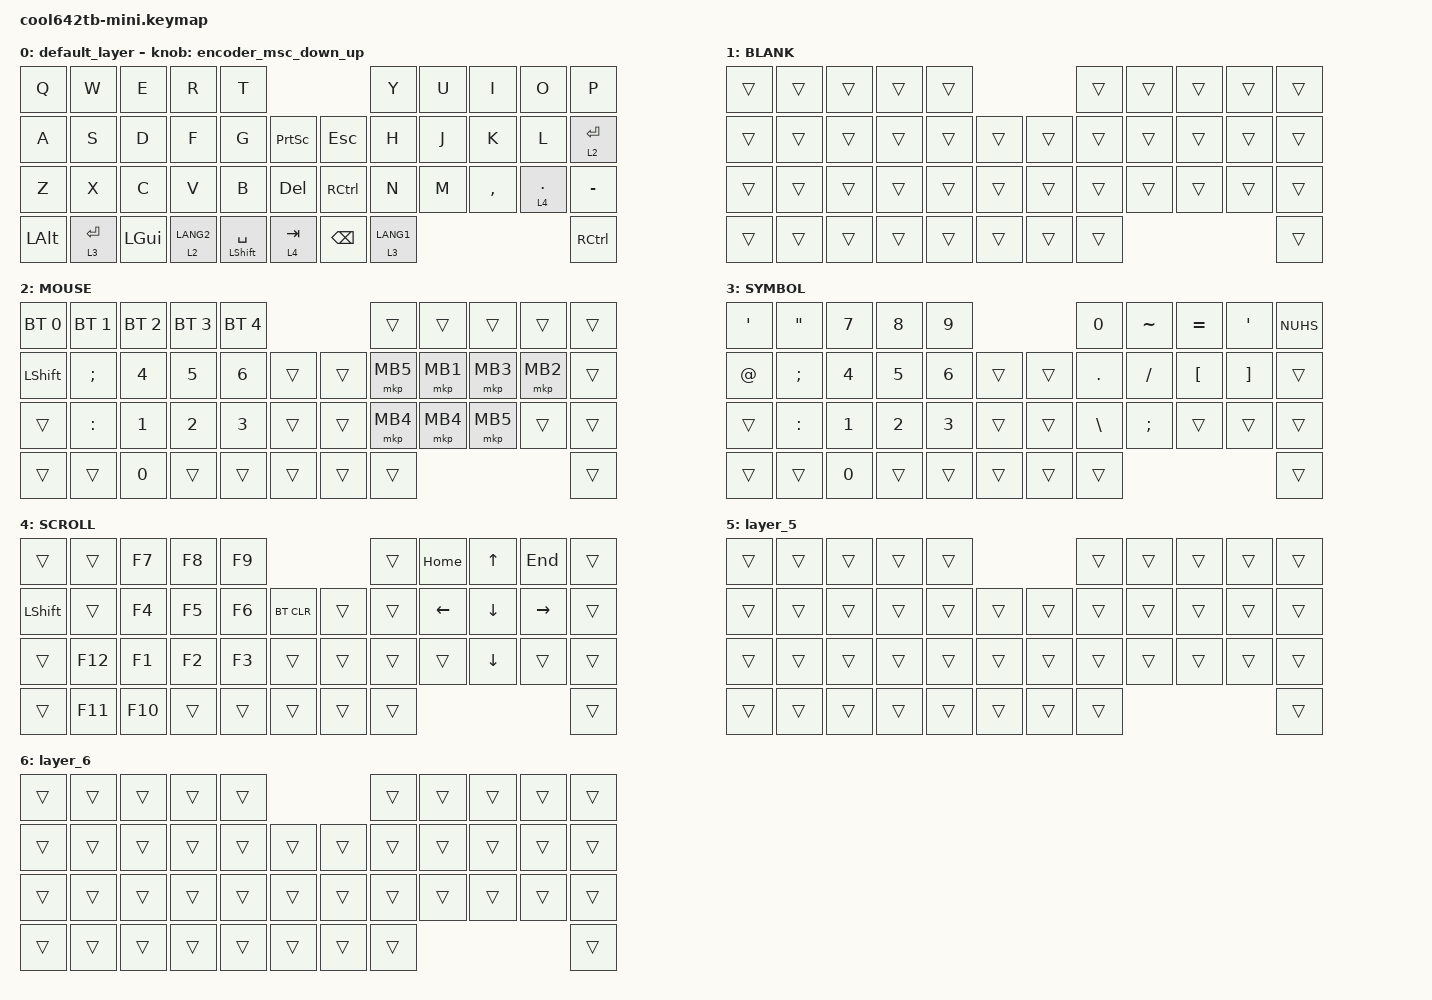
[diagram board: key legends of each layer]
#include <behaviors.dtsi>
#include <dt-bindings/zmk/bt.h>
#include <dt-bindings/zmk/keys.h>
#include <dt-bindings/zmk/pointing.h>

#define MOUSE 2
#define SCROLL 4
#define NUM 6
#define ZMK_POINTING_DEFAULT_SCRL_VAL 80

&mt {
    flavor = "balanced";
    quick-tap-ms = <0>;
};

/ {
    combos {
        compatible = "zmk,combos";

        shift_tab {
            bindings = <&kp LANG2>;
            key-positions = <12 13>;
        };

        lang {
            bindings = <&kp LANG1>;
            key-positions = <18 19>;
        };
    };

    behaviors {
        encoder_msc_down_up: encoder_msc_down_up {
            compatible = "zmk,behavior-sensor-rotate";
            label = "ENCODER_MSC_DOWN_UP";
            #sensor-binding-cells = <0>;
            bindings = <&msc SCRL_UP>, <&msc SCRL_DOWN>;

            tap-ms = <20>;
        };
    };

    keymap {
        compatible = "zmk,keymap";

        default_layer {
            bindings = <
&kp Q     &kp W        &kp E         &kp R        &kp T                                                 &kp Y        &kp U  &kp I      &kp O         &kp P
&kp A     &kp S        &kp D         &kp F        &kp G             &kp PRINTSCREEN      &kp ESC        &kp H        &kp J  &kp K      &kp L         &lt 2 ENTER
&kp Z     &kp X        &kp C         &kp V        &kp B             &kp DELETE           &kp RCTRL      &kp N        &kp M  &kp COMMA  &lt 4 PERIOD  &kp MINUS
&kp LALT  &lt 3 ENTER  &kp LEFT_GUI  &lt 2 LANG2  &mt LSHIFT SPACE  &lt 4 TAB            &kp BACKSPACE  &lt 3 LANG1                                  &kp RCTRL
            >;

            sensor-bindings = <&encoder_msc_down_up>;
        };

        BLANK {
            bindings = <
&trans  &trans  &trans  &trans  &trans                      &trans  &trans  &trans  &trans  &trans
&trans  &trans  &trans  &trans  &trans  &trans      &trans  &trans  &trans  &trans  &trans  &trans
&trans  &trans  &trans  &trans  &trans  &trans      &trans  &trans  &trans  &trans  &trans  &trans
&trans  &trans  &trans  &trans  &trans  &trans      &trans  &trans                          &trans
            >;
        };

        MOUSE {
            bindings = <
&bt BT_SEL 0    &bt BT_SEL 1  &bt BT_SEL 2  &bt BT_SEL 3  &bt BT_SEL 4                      &trans    &trans    &trans    &trans    &trans
&kp LEFT_SHIFT  &kp SEMI      &kp NUMBER_4  &kp N5        &kp N6        &trans      &trans  &mkp MB5  &mkp MB1  &mkp MB3  &mkp MB2  &trans
&trans          &kp COLON     &kp N1        &kp N2        &kp N3        &trans      &trans  &mkp MB4  &mkp MB4  &mkp MB5  &trans    &trans
&trans          &trans        &kp N0        &trans        &trans        &trans      &trans  &trans                                  &trans
            >;
        };

        SYMBOL {
            bindings = <
&kp SINGLE_QUOTE  &kp DOUBLE_QUOTES  &kp N7        &kp N8  &kp N9                      &kp N0         &kp TILDE  &kp EQUAL  &kp APOS  &kp NUHS
&kp AT            &kp SEMI           &kp NUMBER_4  &kp N5  &kp N6  &trans      &trans  &kp DOT        &kp SLASH  &kp LBKT   &kp RBKT  &trans
&trans            &kp COLON          &kp N1        &kp N2  &kp N3  &trans      &trans  &kp BACKSLASH  &kp SEMI   &trans     &trans    &trans
&trans            &trans             &kp N0        &trans  &trans  &trans      &trans  &trans                                         &trans
            >;
        };

        SCROLL {
            bindings = <
&trans          &trans   &kp F7   &kp F8  &kp F9                          &trans  &kp HOME  &kp UP    &kp END    &trans
&kp LEFT_SHIFT  &trans   &kp F4   &kp F5  &kp F6  &bt BT_CLR      &trans  &trans  &kp LEFT  &kp DOWN  &kp RIGHT  &trans
&trans          &kp F12  &kp F1   &kp F2  &kp F3  &trans          &trans  &trans  &trans    &kp DOWN  &trans     &trans
&trans          &kp F11  &kp F10  &trans  &trans  &trans          &trans  &trans                                 &trans
            >;
        };

        layer_5 {
            bindings = <
&trans  &trans  &trans  &trans  &trans                      &trans  &trans  &trans  &trans  &trans
&trans  &trans  &trans  &trans  &trans  &trans      &trans  &trans  &trans  &trans  &trans  &trans
&trans  &trans  &trans  &trans  &trans  &trans      &trans  &trans  &trans  &trans  &trans  &trans
&trans  &trans  &trans  &trans  &trans  &trans      &trans  &trans                          &trans
            >;
        };

        layer_6 {
            bindings = <
&trans  &trans  &trans  &trans  &trans                      &trans  &trans  &trans  &trans  &trans
&trans  &trans  &trans  &trans  &trans  &trans      &trans  &trans  &trans  &trans  &trans  &trans
&trans  &trans  &trans  &trans  &trans  &trans      &trans  &trans  &trans  &trans  &trans  &trans
&trans  &trans  &trans  &trans  &trans  &trans      &trans  &trans                          &trans
            >;
        };
    };
};
